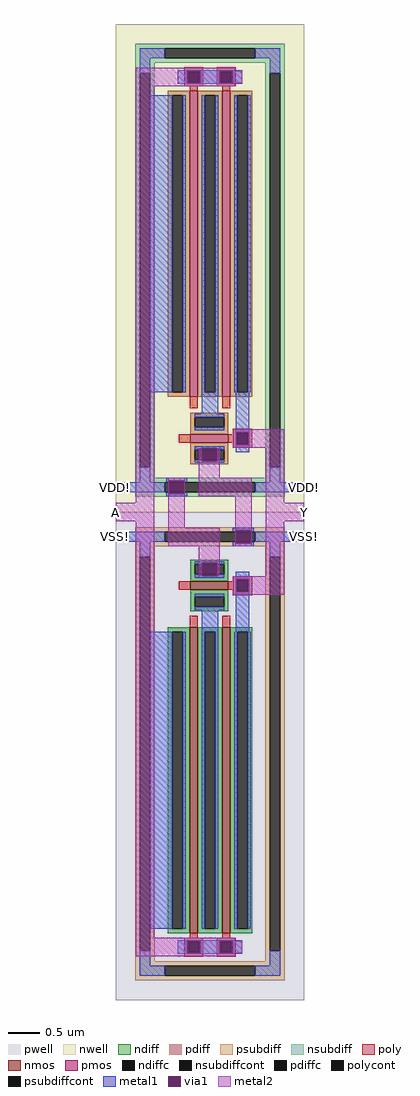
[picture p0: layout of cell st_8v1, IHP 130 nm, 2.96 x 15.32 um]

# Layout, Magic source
magic
tech ihp-sg13g2
magscale 1 2
<< nwell >>
rect -92 -282 500 1250
<< pwell >>
rect -92 -1814 500 -282
<< nmos >>
rect 142 -526 262 -500
rect 140 -1604 166 -644
rect 242 -1604 268 -644
<< pmos >>
rect 140 80 166 1040
rect 242 80 268 1040
rect 142 -64 262 -38
<< ndiff >>
rect 142 -446 262 -432
rect 142 -478 156 -446
rect 248 -478 262 -446
rect 142 -500 262 -478
rect 142 -548 262 -526
rect 142 -580 156 -548
rect 248 -580 262 -548
rect 142 -594 262 -580
rect 72 -658 140 -644
rect 72 -1590 86 -658
rect 118 -1590 140 -658
rect 72 -1604 140 -1590
rect 166 -658 242 -644
rect 166 -1590 188 -658
rect 220 -1590 242 -658
rect 166 -1604 242 -1590
rect 268 -658 336 -644
rect 268 -1590 290 -658
rect 322 -1590 336 -658
rect 268 -1604 336 -1590
<< pdiff >>
rect 72 1026 140 1040
rect 72 94 86 1026
rect 118 94 140 1026
rect 72 80 140 94
rect 166 1026 242 1040
rect 166 94 188 1026
rect 220 94 242 1026
rect 166 80 242 94
rect 268 1026 336 1040
rect 268 94 290 1026
rect 322 94 336 1026
rect 268 80 336 94
rect 142 16 262 30
rect 142 -16 156 16
rect 248 -16 262 16
rect 142 -38 262 -16
rect 142 -86 262 -64
rect 142 -118 156 -86
rect 248 -118 262 -86
rect 142 -132 262 -118
<< ndiffc >>
rect 156 -478 248 -446
rect 156 -580 248 -548
rect 86 -1590 118 -658
rect 188 -1590 220 -658
rect 290 -1590 322 -658
<< pdiffc >>
rect 86 94 118 1026
rect 188 94 220 1026
rect 290 94 322 1026
rect 156 -16 248 16
rect 156 -118 248 -86
<< psubdiff >>
rect -30 -344 438 -330
rect -30 -376 62 -344
rect 346 -376 438 -344
rect -30 -390 438 -376
rect -30 -422 30 -390
rect -30 -1660 -16 -422
rect 16 -1660 30 -422
rect 378 -422 438 -390
rect -30 -1692 30 -1660
rect 378 -1660 392 -422
rect 424 -1660 438 -422
rect 378 -1692 438 -1660
rect -30 -1706 438 -1692
rect -30 -1738 62 -1706
rect 346 -1738 438 -1706
rect -30 -1752 438 -1738
<< nsubdiff >>
rect -30 1174 438 1188
rect -30 1142 62 1174
rect 346 1142 438 1174
rect -30 1128 438 1142
rect -30 1096 30 1128
rect -30 -142 -16 1096
rect 16 -142 30 1096
rect 378 1096 438 1128
rect -30 -174 30 -142
rect 378 -142 392 1096
rect 424 -142 438 1096
rect 378 -174 438 -142
rect -30 -188 438 -174
rect -30 -220 62 -188
rect 346 -220 438 -188
rect -30 -234 438 -220
<< psubdiffcont >>
rect 62 -376 346 -344
rect -16 -1660 16 -422
rect 392 -1660 424 -422
rect 62 -1738 346 -1706
<< nsubdiffcont >>
rect 62 1142 346 1174
rect -16 -142 16 1096
rect 392 -142 424 1096
rect 62 -220 346 -188
<< poly >>
rect 123 1100 183 1114
rect 123 1068 137 1100
rect 169 1068 183 1100
rect 123 1054 183 1068
rect 225 1100 285 1114
rect 225 1068 239 1100
rect 271 1068 285 1100
rect 225 1054 285 1068
rect 140 1040 166 1054
rect 242 1040 268 1054
rect 140 44 166 80
rect 242 44 268 80
rect 276 -35 336 -21
rect 276 -38 290 -35
rect 106 -64 142 -38
rect 262 -64 290 -38
rect 276 -67 290 -64
rect 322 -67 336 -35
rect 276 -81 336 -67
rect 276 -497 336 -483
rect 276 -500 290 -497
rect 106 -526 142 -500
rect 262 -526 290 -500
rect 276 -529 290 -526
rect 322 -529 336 -497
rect 276 -543 336 -529
rect 140 -644 166 -608
rect 242 -644 268 -608
rect 140 -1618 166 -1604
rect 242 -1618 268 -1604
rect 123 -1632 183 -1618
rect 123 -1664 137 -1632
rect 169 -1664 183 -1632
rect 123 -1678 183 -1664
rect 225 -1632 285 -1618
rect 225 -1664 239 -1632
rect 271 -1664 285 -1632
rect 225 -1678 285 -1664
<< polycont >>
rect 137 1068 169 1100
rect 239 1068 271 1100
rect 290 -67 322 -35
rect 290 -529 322 -497
rect 137 -1664 169 -1632
rect 239 -1664 271 -1632
<< metal1 >>
rect -16 1142 62 1174
rect 346 1142 424 1174
rect -16 1096 16 1142
rect 102 1104 306 1105
rect 102 1064 133 1104
rect 173 1064 235 1104
rect 275 1064 306 1104
rect 102 1063 306 1064
rect 392 1096 424 1142
rect 16 94 86 1026
rect 118 94 128 1026
rect 178 94 188 1026
rect 220 94 230 1026
rect 280 94 290 1026
rect 322 94 332 1026
rect 178 26 230 94
rect 156 16 248 26
rect 156 -26 248 -16
rect 285 -31 327 94
rect 285 -71 286 -31
rect 326 -71 327 -31
rect 156 -82 248 -76
rect 156 -86 178 -82
rect 226 -86 248 -82
rect 285 -94 327 -71
rect 156 -122 178 -118
rect 226 -122 248 -118
rect 156 -128 248 -122
rect -16 -188 16 -142
rect 67 -184 133 -175
rect 67 -188 75 -184
rect 123 -188 133 -184
rect 392 -188 424 -142
rect -92 -220 62 -188
rect 346 -220 500 -188
rect 67 -224 75 -220
rect 123 -224 133 -220
rect 67 -233 133 -224
rect 276 -340 342 -331
rect 276 -344 285 -340
rect 333 -344 342 -340
rect -92 -376 62 -344
rect 346 -376 500 -344
rect -16 -422 16 -376
rect 276 -380 285 -376
rect 333 -380 342 -376
rect 276 -389 342 -380
rect 392 -422 424 -376
rect 156 -442 248 -436
rect 156 -446 178 -442
rect 226 -446 248 -442
rect 156 -482 178 -478
rect 226 -482 248 -478
rect 156 -488 248 -482
rect 285 -493 327 -470
rect 285 -533 286 -493
rect 326 -533 327 -493
rect 156 -548 248 -538
rect 156 -590 248 -580
rect 178 -658 230 -590
rect 285 -658 327 -533
rect 16 -1590 86 -658
rect 118 -1590 128 -658
rect 178 -1590 188 -658
rect 220 -1590 230 -658
rect 280 -1590 290 -658
rect 322 -1590 332 -658
rect -16 -1706 16 -1660
rect 102 -1628 306 -1627
rect 102 -1668 133 -1628
rect 173 -1668 235 -1628
rect 275 -1668 306 -1628
rect 102 -1669 306 -1668
rect 392 -1706 424 -1660
rect -16 -1738 62 -1706
rect 346 -1738 424 -1706
<< via1 >>
rect 133 1100 173 1104
rect 133 1068 137 1100
rect 137 1068 169 1100
rect 169 1068 173 1100
rect 133 1064 173 1068
rect 235 1100 275 1104
rect 235 1068 239 1100
rect 239 1068 271 1100
rect 271 1068 275 1100
rect 235 1064 275 1068
rect 286 -35 326 -31
rect 286 -67 290 -35
rect 290 -67 322 -35
rect 322 -67 326 -35
rect 286 -71 326 -67
rect 178 -86 226 -82
rect 178 -118 226 -86
rect 178 -122 226 -118
rect 75 -188 123 -184
rect 75 -220 123 -188
rect 75 -224 123 -220
rect 285 -344 333 -340
rect 285 -376 333 -344
rect 285 -380 333 -376
rect 178 -446 226 -442
rect 178 -478 226 -446
rect 178 -482 226 -478
rect 286 -497 326 -493
rect 286 -529 290 -497
rect 290 -529 322 -497
rect 322 -529 326 -497
rect 286 -533 326 -529
rect 133 -1632 173 -1628
rect 133 -1664 137 -1632
rect 137 -1664 169 -1632
rect 169 -1664 173 -1632
rect 133 -1668 173 -1664
rect 235 -1632 275 -1628
rect 235 -1664 239 -1632
rect 239 -1664 271 -1632
rect 271 -1664 275 -1632
rect 235 -1668 275 -1664
<< metal2 >>
rect -29 1104 284 1113
rect -29 1064 133 1104
rect 173 1064 235 1104
rect 275 1064 306 1104
rect -29 1055 284 1064
rect -29 -253 29 1055
rect 277 -31 437 -22
rect 277 -71 286 -31
rect 326 -71 437 -31
rect 277 -80 437 -71
rect 169 -122 178 -82
rect 226 -122 235 -82
rect 169 -175 235 -122
rect -92 -311 29 -253
rect -29 -1619 29 -311
rect 73 -184 125 -175
rect 73 -224 75 -184
rect 123 -224 125 -184
rect 73 -331 125 -224
rect 169 -233 335 -175
rect 73 -389 235 -331
rect 283 -340 335 -233
rect 283 -380 285 -340
rect 333 -380 335 -340
rect 283 -389 335 -380
rect 379 -253 437 -80
rect 379 -311 500 -253
rect 169 -442 235 -389
rect 169 -482 178 -442
rect 226 -482 235 -442
rect 379 -484 437 -311
rect 277 -493 437 -484
rect 277 -533 286 -493
rect 326 -533 437 -493
rect 277 -542 437 -533
rect -29 -1628 284 -1619
rect -29 -1668 133 -1628
rect 173 -1668 235 -1628
rect 275 -1668 306 -1628
rect -29 -1677 284 -1668
<< labels >>
rlabel metal2 500 -282 500 -282 3 Y
rlabel metal2 -92 -282 -92 -282 7 A
rlabel metal1 -92 -204 -92 -204 7 VDD!
rlabel metal1 500 -204 500 -204 3 VDD!
rlabel metal1 -92 -360 -92 -360 7 VSS!
rlabel metal1 500 -360 500 -360 3 VSS!
<< end >>
